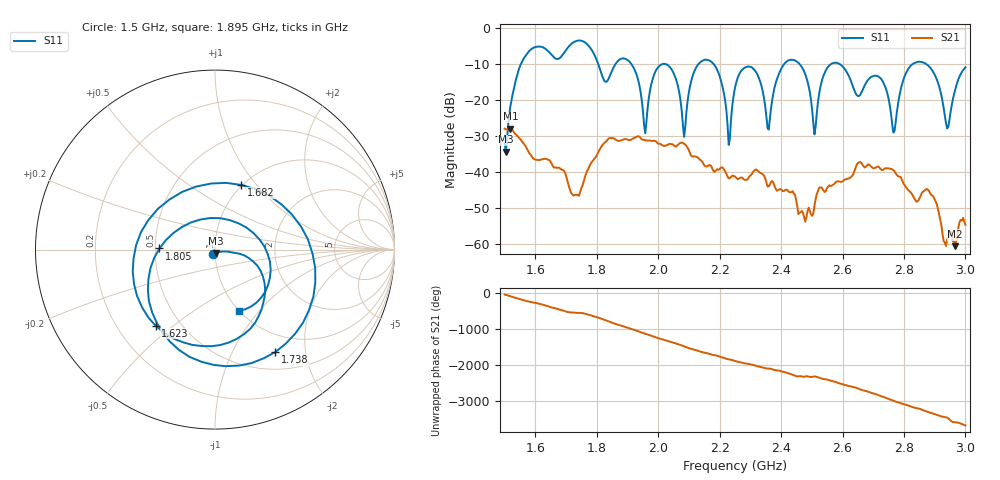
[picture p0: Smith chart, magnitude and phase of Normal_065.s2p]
# HZ S RI R 50
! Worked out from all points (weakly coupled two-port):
!   404 points, 1.5 GHz to 3 GHz, reference 50 ohm
!   highest |S21| = -27.98 dB at 1.519 GHz (marker M1); lowest = -60.5 dB at 2.967 GHz (marker M2)
!   lowest |S11| = -34.4 dB at 1.504 GHz (marker M3), VSWR 1.04, Z = 50.6 - j1.83 ohm
!   |S11| at or under -10 dB: 1.912 GHz to 2.132 GHz (220.4 MHz wide, 10.9 % of centre); 2.179 GHz to 2.411 GHz (231.2 MHz wide, 10.1 % of centre); 2.589 GHz to 2.83 GHz (241.7 MHz wide, 8.92 % of centre) (the widest 3 of 7)
!   S12 and S22 are empty: the file has one direction only
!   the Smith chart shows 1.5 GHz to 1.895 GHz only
!   S11 on the Smith chart (normalised r, x): 1.5 GHz: 0.98, -0.05; 1.623 GHz: 0.36, -0.43; 1.682 GHz: 0.99, +0.84; 1.738 GHz: 0.73, -1.49; 1.805 GHz: 0.53, +0.01; 1.895 GHz: 1.00, -0.79
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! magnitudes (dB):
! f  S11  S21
! 1.5 GHz  -31.8  -28.0
! 1.504 GHz  -34.4  -28.1
! 1.519 GHz  -21.9  -28.0
! 1.623 GHz  -5.4  -36.5
! 1.682 GHz  -8.2  -39.2
! 1.738 GHz  -3.6  -46.4
! 1.753 GHz  -3.7  -43.9
! 1.805 GHz  -10.2  -34.5
! 1.895 GHz  -8.7  -30.9
! 1.958 GHz  -29.3  -31.2
! 2.002 GHz  -10.7  -32.2
! 2.084 GHz  -30.3  -32.2
! 2.14 GHz  -9.4  -36.9
! 2.23 GHz  -32.5  -41.7
! 2.252 GHz  -15.9  -41.4
! 2.36 GHz  -28.2  -44.0
! 2.442 GHz  -9.0  -46.1
! 2.501 GHz  -22.9  -52.1
! 2.572 GHz  -9.8  -43.4
! 2.751 GHz  -19.9  -39.0
! 2.967 GHz  -17.3  -60.5
! 3 GHz  -11.0  -54.6
